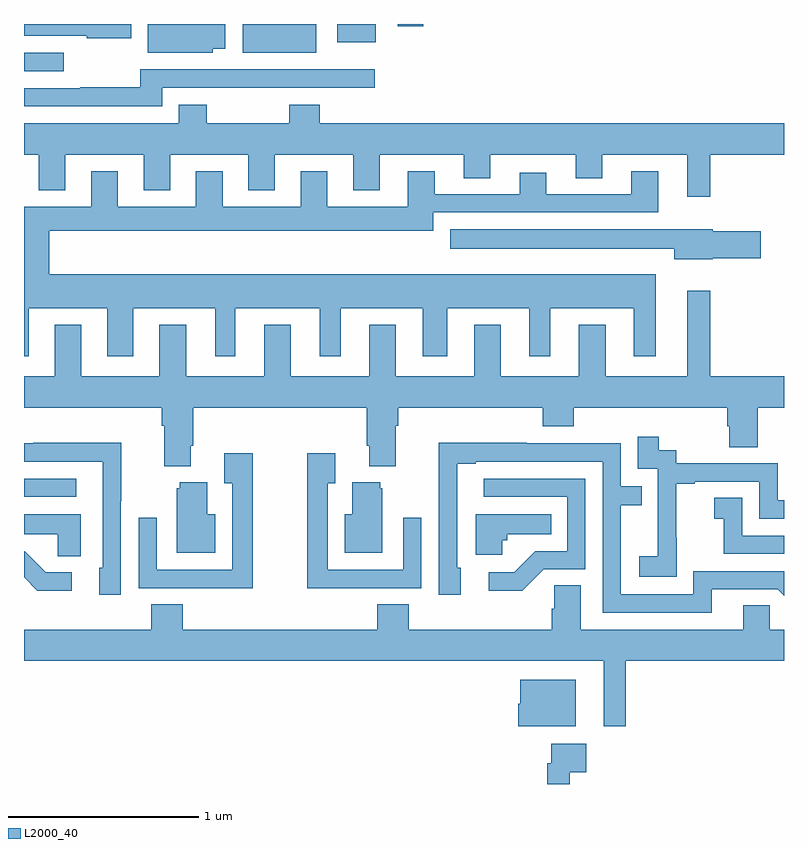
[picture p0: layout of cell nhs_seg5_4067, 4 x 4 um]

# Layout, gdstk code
import gdstk
lib = gdstk.Library(unit=1e-6, precision=1e-09)
def R(c, l, rs):  # rectangles x0, y0, x1, y1
    for r in rs: c.add(gdstk.rectangle(r[:2], r[2:], *l))
def P(c, l, *ps):  # polygons
    for p in ps: c.add(gdstk.Polygon(p, *l))
L2000_40 = (2000, 40)

nhs_seg5_4067 = lib.new_cell('nhs_seg5_4067')
R(nhs_seg5_4067, L2000_40, [(351,836.31,351.274,836.406), (351,838.551,351.208,838.647), (352.151,838.649,352.537,838.799), (352.649,838.703,352.852,838.799), (352.968,838.787,353.101,838.799)])
P(nhs_seg5_4067, L2000_40, [(351.565,838.799),(351,838.799),(351,838.737),(351.329,838.737),(351.329,838.724),(351.565,838.724)],
  [(351.993,838.67),(352.059,838.67),(352.059,838.799),(351.65,838.799),(351.65,838.649),(351.993,838.649)],
  [(351.727,838.464),(352.051,838.464),(352.051,838.463),(352.307,838.463),(352.307,838.464),(352.846,838.464),(352.846,838.561),(352.597,838.561),(352.597,838.56),(351.613,838.56),(351.613,838.466),(351.295,838.466),(351.295,838.461),(351,838.461),(351,838.365),(351.727,838.365)],
  [(354.613,838.112),(355,838.112),(355,838.276),(352.556,838.276),(352.556,838.375),(352.396,838.375),(352.396,838.276),(351.963,838.276),(351.963,838.375),(351.815,838.375),(351.815,838.276),(351,838.276),(351,838.112),(351.077,838.112),(351.077,837.923),(351.217,837.923),(351.217,838.112),(351.629,838.112),(351.629,837.923),(351.769,837.923),(351.769,838.112),(352.181,838.112),(352.181,837.923),(352.321,837.923),(352.321,838.112),(352.733,838.112),(352.733,837.923),(352.873,837.923),(352.873,838.112),(353.315,838.112),(353.315,837.988),(353.455,837.988),(353.455,838.112),(353.903,838.112),(353.903,837.988),(354.043,837.988),(354.043,838.112),(354.491,838.112),(354.491,837.891),(354.613,837.891)],
  [(351.025,837.302),(351.437,837.302),(351.437,837.051),(351.574,837.051),(351.574,837.302),(352.007,837.302),(352.007,837.051),(352.111,837.051),(352.111,837.302),(352.556,837.302),(352.556,837.051),(352.666,837.051),(352.666,837.302),(353.099,837.302),(353.099,837.051),(353.227,837.051),(353.227,837.302),(353.66,837.302),(353.66,837.051),(353.77,837.051),(353.77,837.302),(354.209,837.302),(354.209,837.051),(354.325,837.051),(354.325,837.481),(351.133,837.481),(351.133,837.71),(353.155,837.71),(353.155,837.807),(354.337,837.807),(354.337,838.024),(354.197,838.024),(354.197,837.903),(353.749,837.903),(353.749,838.015),(353.609,838.015),(353.609,837.903),(353.161,837.903),(353.161,838.024),(353.021,838.024),(353.021,837.838),(352.597,837.838),(352.597,838.024),(352.457,838.024),(352.457,837.838),(352.045,837.838),(352.045,838.024),(351.905,838.024),(351.905,837.838),(351.493,837.838),(351.493,838.024),(351.353,838.024),(351.353,837.838),(351,837.838),(351,837.051),(351.025,837.051)],
  [(354.624,837.566),(354.877,837.566),(354.877,837.708),(354.624,837.708),(354.624,837.718),(353.244,837.718),(353.244,837.617),(354.422,837.617),(354.422,837.56),(354.624,837.56)],
  [(351.877,836.578),(351.89,836.578),(351.89,836.78),(352.805,836.78),(352.805,836.578),(352.817,836.578),(352.817,836.471),(352.957,836.471),(352.957,836.684),(352.97,836.684),(352.97,836.78),(353.729,836.78),(353.729,836.681),(353.894,836.681),(353.894,836.78),(354.701,836.78),(354.701,836.682),(354.713,836.682),(354.713,836.572),(354.861,836.572),(354.861,836.78),(355,836.78),(355,836.944),(354.613,836.944),(354.613,837.394),(354.491,837.394),(354.491,836.944),(354.061,836.944),(354.061,837.217),(353.921,837.217),(353.921,836.944),(353.509,836.944),(353.509,837.217),(353.369,837.217),(353.369,836.944),(352.957,836.944),(352.957,837.217),(352.817,837.217),(352.817,836.944),(352.405,836.944),(352.405,837.217),(352.265,837.217),(352.265,836.944),(351.853,836.944),(351.853,837.217),(351.713,837.217),(351.713,836.944),(351.301,836.944),(351.301,837.217),(351.161,837.217),(351.161,836.944),(351,836.944),(351,836.78),(351.725,836.78),(351.725,836.684),(351.737,836.684),(351.737,836.471),(351.877,836.471)],
  [(354.435,836.095),(354.434,836.095),(354.434,836.379),(354.529,836.379),(354.529,836.391),(354.87,836.391),(354.87,836.196),(355,836.196),(355,836.292),(354.966,836.292),(354.966,836.487),(354.432,836.487),(354.432,836.556),(354.34,836.556),(354.34,836.626),(354.231,836.626),(354.231,836.457),(354.336,836.457),(354.336,836.228),(354.335,836.228),(354.335,835.999),(354.237,835.999),(354.237,835.889),(354.435,835.889)],
  [(354.619,835.824),(354.966,835.824),(355,835.79),(355,835.92),(354.522,835.92),(354.522,835.797),(354.141,835.797),(354.141,836.266),(354.251,836.266),(354.251,836.367),(354.141,836.367),(354.141,836.592),(353.645,836.592),(353.645,836.594),(353.182,836.594),(353.182,836.287),(353.184,836.287),(353.184,835.794),(353.299,835.794),(353.299,835.938),(353.28,835.938),(353.28,836.484),(353.377,836.484),(353.377,836.496),(354.045,836.496),(354.045,835.701),(354.619,835.701)],
  [(351.51,836.287),(351.513,836.287),(351.513,836.594),(351.049,836.594),(351.049,836.592),(351,836.592),(351,836.496),(351.414,836.496),(351.414,835.938),(351.395,835.938),(351.395,835.794),(351.51,835.794)],
  [(352.204,836.539),(352.055,836.539),(352.055,836.383),(352.095,836.383),(352.095,835.926),(351.699,835.926),(351.699,836.2),(351.603,836.2),(351.603,835.83),(351.919,835.83),(351.919,835.829),(352.204,835.829)],
  [(352.775,835.83),(353.091,835.83),(353.091,836.2),(352.995,836.2),(352.995,835.926),(352.599,835.926),(352.599,836.383),(352.639,836.383),(352.639,836.539),(352.491,836.539),(352.491,835.829),(352.775,835.829)],
  [(353.736,835.929),(353.955,835.929),(353.955,836.406),(353.421,836.406),(353.421,836.31),(353.859,836.31),(353.859,836.025),(353.69,836.025),(353.579,835.914),(353.445,835.914),(353.445,835.817),(353.623,835.817)],
  [(352.885,836.355),(352.874,836.355),(352.874,836.386),(352.727,836.386),(352.727,836.218),(352.688,836.218),(352.688,836.015),(352.885,836.015)],
  [(352.006,836.218),(351.964,836.218),(351.964,836.386),(351.821,836.386),(351.821,836.355),(351.803,836.355),(351.803,836.015),(352.006,836.015)],
  [(355,836.106),(354.78,836.106),(354.78,836.305),(354.633,836.305),(354.633,836.195),(354.682,836.195),(354.682,836.01),(355,836.01)],
  [(353.517,836.082),(353.544,836.082),(353.544,836.114),(353.774,836.114),(353.774,836.218),(353.378,836.218),(353.378,836.006),(353.517,836.006)],
  [(351.298,836.218),(351,836.218),(351,836.114),(351.177,836.114),(351.177,835.999),(351.298,835.999)],
  [(351.25,835.914),(351.115,835.914),(351.004,836.025),(351,836.025),(351,835.887),(351.071,835.817),(351.25,835.817)],
  [(354.167,835.448),(355,835.448),(355,835.612),(354.924,835.612),(354.924,835.739),(354.785,835.739),(354.785,835.612),(353.929,835.612),(353.929,835.844),(353.79,835.844),(353.79,835.721),(353.777,835.721),(353.777,835.612),(353.024,835.612),(353.024,835.745),(352.859,835.745),(352.859,835.612),(351.836,835.612),(351.836,835.745),(351.671,835.745),(351.671,835.612),(351,835.612),(351,835.448),(354.05,835.448),(354.05,835.104),(354.167,835.104)],
  [(353.905,835.348),(353.612,835.348),(353.612,835.221),(353.6,835.221),(353.6,835.103),(353.905,835.103)],
  [(353.873,834.86),(353.959,834.86),(353.959,835.012),(353.775,835.012),(353.775,834.908),(353.755,834.908),(353.755,834.799),(353.873,834.799)])

lib.write_gds('nhs_seg5_4067.gds')
